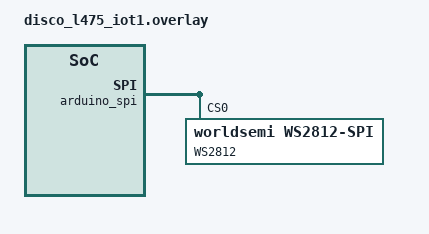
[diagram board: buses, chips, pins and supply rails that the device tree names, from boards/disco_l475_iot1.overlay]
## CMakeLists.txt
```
# SPDX-License-Identifier: Apache-2.0

cmake_minimum_required(VERSION 3.13.1)

set(BOARD_ROOT ${CMAKE_CURRENT_LIST_DIR})

set(BOARD disco_l475_iot1)

include($ENV{ZEPHYR_BASE}/cmake/app/boilerplate.cmake NO_POLICY_SCOPE)
project(microrosapp C CXX)

FILE(GLOB app_sources src/*.c)
target_sources(app PRIVATE ${app_sources})

zephyr_get_include_directories_for_lang_as_string(       C includes)
zephyr_get_system_include_directories_for_lang_as_string(C system_includes)
zephyr_get_compile_definitions_for_lang_as_string(       C definitions)
zephyr_get_compile_options_for_lang_as_string(           C options)

zephyr_get_include_directories_for_lang_as_string(       CXX includes_cxx)
zephyr_get_system_include_directories_for_lang_as_string(CXX system_includes_cxx)
zephyr_get_compile_definitions_for_lang_as_string(       CXX definitions_cxx)
zephyr_get_compile_options_for_lang_as_string(           CXX options_cxx)

set(external_project_cflags
    "${includes} ${definitions} ${options} ${system_includes}"
    )

set(external_project_cxxflags
    "${includes_cxx} ${definitions_cxx} ${options_cxx} ${system_includes_cxx}" 
    )

include(ExternalProject)

set(mylib_src_dir   ${CMAKE_CURRENT_SOURCE_DIR}/microros)
set(mylib_build_dir ${CMAKE_CURRENT_BINARY_DIR}/microros)

if(CMAKE_GENERATOR STREQUAL "Unix Makefiles")
set(submake "$(MAKE)")
else()
set(submake "make")
endif()

ExternalProject_Add(
    microroslib_project                 # Name for custom target
    PREFIX     ${mylib_build_dir} # Root dir for entire project
    SOURCE_DIR ${mylib_src_dir}
    BINARY_DIR ${mylib_src_dir} # This particular build system is invoked from the root
    CONFIGURE_COMMAND ""    # Skip configuring the project, e.g. with autoconf
    BUILD_COMMAND
        ${submake}
            PREFIX=${mylib_build_dir}
            CC=${CMAKE_C_COMPILER}
            AR=${CMAKE_AR}
            CFLAGS=${external_project_cflags}
            CXX=${CMAKE_CXX_COMPILER}
            CXXFLAGS=${external_project_cxxflags}

    INSTALL_COMMAND ""      # This particular build system has no install command
    BUILD_BYPRODUCTS ${MICROROS_LIB_DIR}/libmicroros.a
    )

file(MAKE_DIRECTORY ${CMAKE_CURRENT_SOURCE_DIR}/../mcu_ws/install)
file(MAKE_DIRECTORY ${CMAKE_CURRENT_SOURCE_DIR}/../mcu_ws/install/include)

set(MICROROS_LIB_DIR     ${CMAKE_CURRENT_SOURCE_DIR}/../mcu_ws/install)
set(MICROROS_INCLUDE_DIR ${CMAKE_CURRENT_SOURCE_DIR}/../mcu_ws/install/include)

add_library(microroslib STATIC IMPORTED GLOBAL)
add_dependencies(
    microroslib
    microroslib_project
    )

add_dependencies(microroslib_project offsets_h)

set_target_properties(microroslib PROPERTIES IMPORTED_LOCATION             ${MICROROS_LIB_DIR}/libmicroros.a)
set_target_properties(microroslib PROPERTIES INTERFACE_INCLUDE_DIRECTORIES ${MICROROS_INCLUDE_DIR})


target_link_libraries(app PUBLIC microroslib)
```

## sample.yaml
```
sample:
  name: Sample for MEMS sensors VL53L0X
tests:
  sample.sensor.vl53l1x:
    build_only: true
    depends_on: usb_device i2c vl53l1x 
    tags: usb
    harness: console
    harness_config:
      type: one_line
      regex:
        - "Wait for DTR"
```

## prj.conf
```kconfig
CONFIG_MAIN_STACK_SIZE=25000

CONFIG_NEWLIB_LIBC=y
CONFIG_NEWLIB_LIBC_NANO=n
CONFIG_CPLUSPLUS=y
CONFIG_LIB_CPLUSPLUS=y
CONFIG_STD_CPP17=y
CONFIG_PTHREAD_IPC=n

CONFIG_POSIX_API=y
CONFIG_NATIVE_POSIX_TIMER=y
CONFIG_APP_LINK_WITH_POSIX_SUBSYS=y
CONFIG_POSIX_CLOCK=y

CONFIG_I2C=y
CONFIG_GPIO=y
CONFIG_SENSOR=y
CONFIG_VL53L0X=y
CONFIG_VL53L0X_PROXIMITY_THRESHOLD=100

CONFIG_LED_STRIP=y
CONFIG_LED_STRIP_LOG_LEVEL_DBG=y
CONFIG_WS2812_STRIP=y
CONFIG_SPI=y
CONFIG_WS2812_STRIP_GPIO=n

CONFIG_STDOUT_CONSOLE=y
CONFIG_USB=y
CONFIG_USB_DEVICE_STACK=y
CONFIG_USB_DEVICE_PRODUCT="Zephyr ST Discovery"
CONFIG_LOG=y
CONFIG_USB_CDC_ACM=y
CONFIG_SERIAL=y
CONFIG_UART_INTERRUPT_DRIVEN=y
CONFIG_UART_LINE_CTRL=y
CONFIG_USB_DRIVER_LOG_LEVEL_ERR=y
CONFIG_USB_DEVICE_LOG_LEVEL_ERR=y
CONFIG_USB_CDC_ACM_RINGBUF_SIZE=2048

CONFIG_USB_UART_DTR_WAIT=n
```

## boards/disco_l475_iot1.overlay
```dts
/*
 * Copyright (c) 2019, Nordic Semiconductor ASA
 *
 * SPDX-License-Identifier: Apache-2.0
 */

#include "../nrf52-bindings.h"

&arduino_spi { /* MOSI on D11 / P0.23 */
	led_strip: ws2812@0 {
		compatible = "worldsemi,ws2812-spi";
		label = "WS2812";

		/* SPI */
		reg = <0>; /* ignored, but necessary for SPI bindings */
		spi-max-frequency = <SPI_FREQ>;

		/* WS2812 */
		chain-length = <8>; /* arbitrary; change at will */
		spi-one-frame = <ONE_FRAME>;
		spi-zero-frame = <ZERO_FRAME>;
	};
};

/ {
	aliases {
		led-strip = &led_strip;
	};
};
```

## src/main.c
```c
#include <zephyr.h>
#include <device.h>
#include <drivers/sensor.h>
#include <drivers/gpio.h>
#include <drivers/led_strip.h>
#include <drivers/spi.h>
#include <stdio.h>
#include <sys/util.h>
#include <string.h>
#include <sys/printk.h>

#include <rcl/rcl.h>
#include <rcl_action/rcl_action.h>
#include <rcl/error_handling.h>
#include <std_msgs/msg/int32.h>
#include <std_msgs/msg/bool.h>

#define RCCHECK(fn) { rcl_ret_t temp_rc = fn; if((temp_rc != RCL_RET_OK)){printk("Failed status on line %d: %d. Aborting.\n",__LINE__,(int)temp_rc);}}
#define RCSOFTCHECK(fn) { rcl_ret_t temp_rc = fn; if((temp_rc != RCL_RET_OK)){printk("Failed status on line %d: %d. Continuing.\n",__LINE__,(int)temp_rc);}}

#ifndef DT_ALIAS_LED0_GPIOS_FLAGS
#define DT_ALIAS_LED0_GPIOS_FLAGS 0
#endif

#define STRIP_NUM_PIXELS	DT_ALIAS_LED_STRIP_CHAIN_LENGTH
#define DELAY_TIME K_MSEC(50)
#define RGB(_r, _g, _b) { .r = (_r), .g = (_g), .b = (_b) }

struct led_rgb pixels[STRIP_NUM_PIXELS] = {0};
struct led_rgb old_pixels[STRIP_NUM_PIXELS];

static const struct led_rgb colors[] = {
	RGB(0x0f, 0x00, 0x00), /* red */
	RGB(0x00, 0x0f, 0x00), /* green */
	RGB(0x00, 0x00, 0x0f), /* blue */
};

static struct device *led;
static struct device *strip;
static struct device *tof;

static bool microros_init = false;
static uint32_t measure_ext = 2000;
static bool trigger = false;

K_SEM_DEFINE(updating_sem, 1, 1);

void led_update(void){
	strip = device_get_binding(DT_ALIAS_LED_STRIP_LABEL);
	while(true){
		k_sem_take(&updating_sem, K_FOREVER);
		// if(memcmp(pixels,old_pixels,sizeof(pixels)) != 0){
			// memcpy(old_pixels, pixels, sizeof(pixels));
			led_strip_update_rgb(strip, pixels, STRIP_NUM_PIXELS);
		// }
		k_sem_give(&updating_sem);
		k_sleep(K_MSEC(50));
	}
}
 

void led_startup(void){
	struct led_rgb c = RGB(0x00, 0x00, 0x0f);

	size_t i = 0;
	while(!microros_init){
		k_sem_take(&updating_sem, K_FOREVER);
		memset(&pixels, 0x00, sizeof(pixels));
		memcpy(&pixels[i], &c, sizeof(struct led_rgb));
		i = (i+1)%STRIP_NUM_PIXELS;
		k_sem_give(&updating_sem);
		led_strip_update_rgb(strip, pixels, STRIP_NUM_PIXELS);
		k_sleep(K_MSEC(100));
	}

	return;
}


// K_THREAD_DEFINE(my_tid, 500,
//                 led_startup, NULL, NULL, NULL,
//                 4, 0, K_NO_WAIT);

// K_THREAD_DEFINE(my_tid2, 500,
//                 led_update, NULL, NULL, NULL,
//                 -16, 0, K_NO_WAIT);

void main(void)
{	
	strip = device_get_binding(DT_ALIAS_LED_STRIP_LABEL);

	struct led_rgb c = RGB(0x00, 0x00, 0x0f);
	for(size_t j = 0 ; j < STRIP_NUM_PIXELS ; j++){
		memcpy(&pixels[j], &c, sizeof(struct led_rgb));
	}

	led_strip_update_rgb(strip, pixels, STRIP_NUM_PIXELS);


	led = device_get_binding(DT_ALIAS_LED0_GPIOS_CONTROLLER);
	gpio_pin_configure(led, DT_ALIAS_LED0_GPIOS_PIN, GPIO_OUTPUT_ACTIVE | DT_ALIAS_LED0_GPIOS_FLAGS);

	tof = device_get_binding(DT_INST_0_ST_VL53L0X_LABEL);
	struct sensor_value value;

	rcl_init_options_t options = rcl_get_zero_initialized_init_options();

	RCCHECK(rcl_init_options_init(&options, rcl_get_default_allocator()))

	// Optional RMW configuration 
	rmw_init_options_t* rmw_options = rcl_init_options_get_rmw_init_options(&options);
	RCCHECK(rmw_uros_options_set_client_key(0xDEADBEEF, rmw_options))

	rcl_context_t context = rcl_get_zero_initialized_context();
	RCCHECK(rcl_init(0, NULL, &options, &context))

	rcl_node_options_t node_ops = rcl_node_get_default_options();

	rcl_node_t node = rcl_get_zero_initialized_node();
	RCCHECK(rcl_node_init(&node, "int32_publisher_rcl", "", &context, &node_ops))

	rcl_subscription_options_t subscription_trigger_ops = rcl_subscription_get_default_options();
	rcl_subscription_t subscription_trigger = rcl_get_zero_initialized_subscription();
	RCCHECK(rcl_subscription_init(&subscription_trigger, &node, ROSIDL_GET_MSG_TYPE_SUPPORT(std_msgs, msg, Bool), "/tof/trigger", &subscription_trigger_ops))

	rcl_subscription_options_t subscription_measure_ops = rcl_subscription_get_default_options();
	rcl_subscription_t subscription_measure = rcl_get_zero_initialized_subscription();
	RCCHECK(rcl_subscription_init(&subscription_measure, &node, ROSIDL_GET_MSG_TYPE_SUPPORT(std_msgs, msg, Int32), "/tof/measure", &subscription_measure_ops))


	rcl_wait_set_t wait_set = rcl_get_zero_initialized_wait_set();
  	RCCHECK(rcl_wait_set_init(&wait_set, 2, 0, 0, 0, 0, 0, &context, rcl_get_default_allocator()))

	microros_init = true;

	gpio_pin_set(led, DT_ALIAS_LED0_GPIOS_PIN, 0);

	uint32_t measure;

	while (1) {
		s64_t time_stamp;
		s64_t milliseconds_spent;

		time_stamp = k_uptime_get();

		sensor_sample_fetch(tof);
		sensor_channel_get(tof, SENSOR_CHAN_DISTANCE, &value);
		measure = value.val1;
		
		RCSOFTCHECK(rcl_wait_set_clear(&wait_set))
    
		size_t index_subscription_trigger;
		RCSOFTCHECK(rcl_wait_set_add_subscription(&wait_set, &subscription_trigger, &index_subscription_trigger))

		size_t index_measure_ext;
		RCSOFTCHECK(rcl_wait_set_add_subscription(&wait_set, &subscription_measure, &index_measure_ext))
		
		RCSOFTCHECK(rcl_wait(&wait_set, RCL_MS_TO_NS(10)))

		if (wait_set.subscriptions[index_subscription_trigger]) {
			std_msgs__msg__Bool msg;
			rcl_take(wait_set.subscriptions[index_subscription_trigger], &msg, NULL, NULL);
			trigger = msg.data;
			gpio_pin_set(led, DT_ALIAS_LED0_GPIOS_PIN, (int)(msg.data) ? 1 : 0);

			if(trigger){
				struct led_rgb c = RGB(0x0f, 0x00, 0x00);
				for(size_t j = 0 ; j < STRIP_NUM_PIXELS ; j++){
					memcpy(&pixels[j], &c, sizeof(struct led_rgb));
				}
			}
		}

		if (wait_set.subscriptions[index_measure_ext]) {
			std_msgs__msg__Int32 msg;
			rcl_take(wait_set.subscriptions[index_measure_ext], &msg, NULL, NULL);
			measure_ext = msg.data;

			if(!trigger){
				float val = ((float) measure_ext/1300.0);
				val = (val > 1) ? STRIP_NUM_PIXELS : STRIP_NUM_PIXELS*val;
				int nval = (int)val;

				struct led_rgb c = RGB(0x00, 0x0f, 0x00);
				memset(&pixels, 0x00, sizeof(pixels));
				for(size_t j = 0 ; j < STRIP_NUM_PIXELS-nval ; j++){
					memcpy(&pixels[j], &c, sizeof(struct led_rgb));
				}
			}
		}

		led_strip_update_rgb(strip, pixels, STRIP_NUM_PIXELS);

		milliseconds_spent = k_uptime_delta(&time_stamp);
		// k_sleep(150-milliseconds_spent);

		// printf("Measure is %d mm   Measure external is %d mm\n", measure, measure_ext);
		
		// std_msgs__msg__Int32 msg;
		// msg.data = measure;
		// rcl_publish(&publisher_measure, (const void*)&msg, NULL);		
		// k_sleep(20);
	}
}
```
